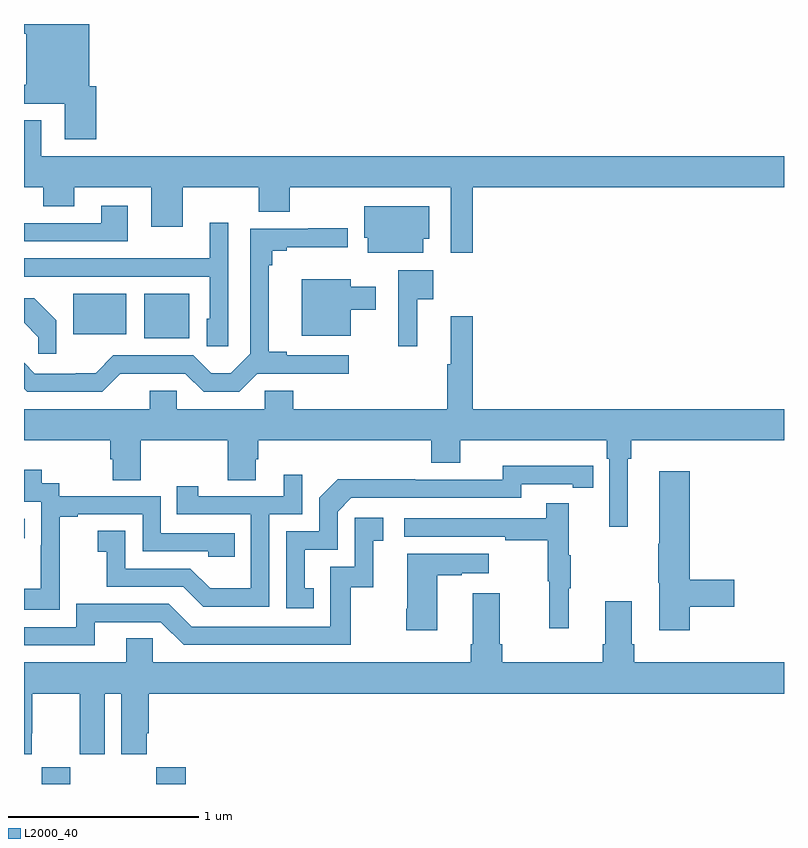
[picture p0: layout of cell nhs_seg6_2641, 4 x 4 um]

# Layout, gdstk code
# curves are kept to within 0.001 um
import gdstk
lib = gdstk.Library(unit=1e-6, precision=1e-09)
def R(c, l, rs):  # rectangles x0, y0, x1, y1
    for r in rs: c.add(gdstk.rectangle(r[:2], r[2:], *l))
def P(c, l, *ps):  # polygons
    for p in ps: c.add(gdstk.Polygon(p, *l))
L2000_40 = (2000, 40)

nhs_seg6_2641 = lib.new_cell('nhs_seg6_2641')
R(nhs_seg6_2641, L2000_40, [(267.093,973.5,267.243,973.588), (267.697,973.5,267.851,973.588), (267,974.794,267.005,974.895), (267.632,975.845,267.871,976.081), (267.26,975.866,267.538,976.081)])
P(nhs_seg6_2641, L2000_40, [(267.38,977.172),(267.343,977.172),(267.343,977.5),(267,977.5),(267,977.45),(267.011,977.45),(267.011,977.18),(267,977.18),(267,977.079),(267.215,977.079),(267.215,976.893),(267.38,976.893)],
  [(269.363,976.64),(271,976.64),(271,976.804),(267.091,976.804),(267.091,976.994),(267,976.994),(267,976.64),(267.101,976.64),(267.101,976.541),(267.265,976.541),(267.265,976.64),(267.671,976.64),(267.671,976.434),(267.835,976.434),(267.835,976.64),(268.235,976.64),(268.235,976.512),(268.399,976.512),(268.399,976.64),(269.247,976.64),(269.247,976.296),(269.363,976.296)],
  [(267.547,976.543),(267.407,976.543),(267.407,976.452),(267,976.452),(267,976.356),(267.547,976.356)],
  [(269.101,976.37),(269.134,976.37),(269.134,976.54),(268.79,976.54),(268.79,976.374),(268.808,976.374),(268.808,976.295),(269.101,976.295)],
  [(268.074,976.453),(267.977,976.453),(267.977,976.267),(267.643,976.267),(267.643,976.266),(267,976.266),(267,976.17),(267.978,976.17),(267.978,975.948),(267.962,975.948),(267.962,975.805),(268.074,975.805)],
  [(267.506,975.659),(267.849,975.66),(267.945,975.564),(268.132,975.564),(268.228,975.66),(268.708,975.659),(268.708,975.756),(268.384,975.756),(268.384,975.776),(268.288,975.776),(268.288,976.229),(268.307,976.229),(268.307,976.306),(268.384,976.306),(268.384,976.325),(268.705,976.325),(268.705,976.424),(268.495,976.424),(268.495,976.422),(268.191,976.422),(268.191,975.765),(268.087,975.661),(267.986,975.661),(267.891,975.756),(267.471,975.756),(267.377,975.662),(267.272,975.662),(267.272,975.66),(267.057,975.66),(267,975.717),(267,975.581),(267.017,975.564),(267.411,975.564)],
  [(269.069,976.052),(269.155,976.052),(269.155,976.204),(268.971,976.204),(268.971,975.804),(269.069,975.804)],
  [(268.72,975.995),(268.852,975.995),(268.852,976.117),(268.72,976.117),(268.72,976.156),(268.463,976.156),(268.463,975.86),(268.72,975.86)],
  [(267.171,975.94),(267.055,976.056),(267,976.056),(267,975.928),(267.076,975.852),(267.076,975.765),(267.171,975.765)],
  [(269.246,975.708),(269.227,975.708),(269.227,975.472),(268.418,975.472),(268.418,975.57),(268.266,975.57),(268.266,975.472),(267.804,975.472),(267.804,975.57),(267.662,975.57),(267.662,975.472),(267,975.472),(267,975.308),(267.455,975.308),(267.455,975.21),(267.467,975.21),(267.467,975.1),(267.615,975.1),(267.615,975.308),(268.072,975.308),(268.072,975.1),(268.219,975.1),(268.219,975.21),(268.232,975.21),(268.232,975.308),(269.144,975.308),(269.144,975.191),(269.296,975.191),(269.296,975.308),(270.068,975.308),(270.068,975.212),(270.081,975.212),(270.081,974.853),(270.178,974.853),(270.178,975.212),(270.197,975.212),(270.197,975.308),(271,975.308),(271,975.472),(269.363,975.472),(269.363,975.961),(269.246,975.961)],
  [(268.526,974.529),(268.477,974.529),(268.477,974.733),(268.65,974.733),(268.65,974.934),(268.722,975.006),(269.616,975.006),(269.616,975.078),(269.888,975.078),(269.888,975.058),(269.996,975.058),(269.996,975.174),(269.52,975.175),(269.52,975.102),(269.06,975.102),(269.06,975.104),(268.652,975.104),(268.554,975.006),(268.554,974.829),(268.38,974.829),(268.38,974.424),(268.526,974.424)],
  [(267.189,974.623),(267.188,974.623),(267.188,974.907),(267.283,974.907),(267.283,974.919),(267.624,974.919),(267.624,974.724),(267.969,974.724),(267.969,974.697),(268.109,974.697),(268.109,974.82),(267.72,974.82),(267.72,975.015),(267.186,975.015),(267.186,975.084),(267.094,975.084),(267.094,975.154),(267,975.154),(267,974.985),(267.09,974.985),(267.09,974.756),(267.089,974.756),(267.089,974.527),(267,974.527),(267,974.417),(267.189,974.417)],
  [(270.503,974.434),(270.739,974.434),(270.739,974.576),(270.503,974.576),(270.503,975.145),(270.344,975.145),(270.344,974.765),(270.337,974.765),(270.337,974.559),(270.344,974.559),(270.344,974.31),(270.503,974.31)],
  [(268.29,974.919),(268.464,974.919),(268.464,975.127),(268.367,975.127),(268.367,975.015),(267.916,975.015),(267.916,975.067),(267.805,975.067),(267.805,974.919),(268.194,974.919),(268.194,974.53),(267.98,974.53),(267.876,974.634),(267.534,974.634),(267.534,974.833),(267.387,974.833),(267.387,974.723),(267.436,974.723),(267.436,974.538),(267.839,974.538),(267.944,974.433),(268.29,974.433)],
  [(269.867,974.531),(269.878,974.531),(269.878,974.705),(269.867,974.705),(269.867,974.977),(269.749,974.977),(269.749,974.898),(269.001,974.898),(269.001,974.802),(269.533,974.802),(269.533,974.782),(269.757,974.782),(269.757,974.568),(269.764,974.568),(269.764,974.319),(269.867,974.319)],
  [(267.373,974.352),(267.72,974.352),(267.84,974.232),(268.72,974.232),(268.72,974.535),(268.838,974.535),(268.838,974.781),(268.891,974.781),(268.891,974.902),(268.74,974.902),(268.74,974.643),(268.611,974.643),(268.611,974.328),(267.882,974.328),(267.762,974.448),(267.276,974.448),(267.276,974.325),(267,974.325),(267,974.229),(267.373,974.229)],
  [(269.176,974.599),(269.303,974.599),(269.303,974.609),(269.446,974.609),(269.446,974.713),(269.018,974.713),(269.018,974.422),(269.011,974.422),(269.011,974.31),(269.176,974.31)],
  [(270.199,974.236),(270.199,974.461),(270.059,974.461),(270.059,974.236),(270.047,974.236),(270.047,974.14),(269.516,974.14),(269.516,974.236),(269.503,974.236),(269.503,974.503),(269.363,974.503),(269.363,974.236),(269.351,974.236),(269.351,974.14),(267.678,974.14),(267.678,974.267),(267.539,974.267),(267.539,974.14),(267,974.14),(267,973.656),(267.042,973.656),(267.042,973.768),(267.043,973.768),(267.043,973.976),(267.293,973.976),(267.293,973.768),(267.294,973.768),(267.294,973.656),(267.424,973.656),(267.424,973.976),(267.512,973.976),(267.512,973.656),(267.646,973.656),(267.646,973.768),(267.656,973.768),(267.656,973.976),(271,973.976),(271,974.14),(270.212,974.14),(270.212,974.236)])

lib.write_gds('nhs_seg6_2641.gds')
